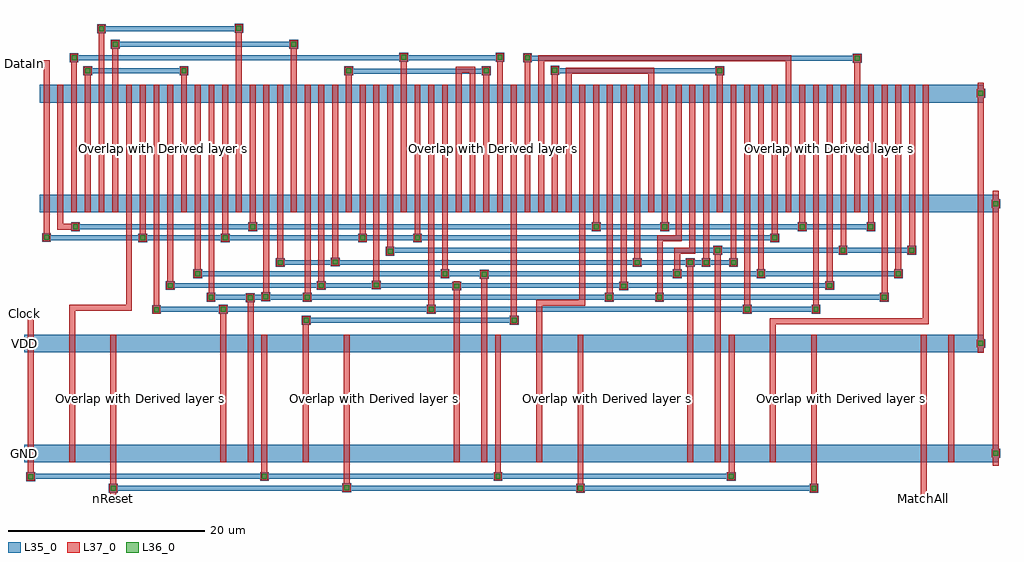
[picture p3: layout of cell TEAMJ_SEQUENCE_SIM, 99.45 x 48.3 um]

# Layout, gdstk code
import gdstk
lib = gdstk.Library(unit=1e-6, precision=1e-09)
def R(c, l, rs):  # rectangles x0, y0, x1, y1
    for r in rs: c.add(gdstk.rectangle(r[:2], r[2:], *l))
def A(c, l, x, y, w, h, nx, ny, dx, dy):  # array of equal rectangles
    R(c, l, [(x+i*dx, y+j*dy, x+i*dx+w, y+j*dy+h) for i in range(nx) for j in range(ny)])
L35_0 = (35, 0)
L36_0 = (36, 0)
L37_0 = (37, 0)

via1 = lib.new_cell('VIA1')
R(via1, L35_0, [(-0.45,-0.45,0.45,0.45)])
R(via1, L36_0, [(-0.25,-0.25,0.25,0.25)])
R(via1, L37_0, [(-0.4,-0.4,0.4,0.4)])

inv1_h = lib.new_cell('INV1_H')
inv1_h.add(gdstk.FlexPath([(2.8,0.9),(0,0.9)], 1.8, ends="flush", simple_path=True, layer=35, datatype=0))  # L35_0
inv1_h.add(gdstk.FlexPath([(2.8,12.1),(0,12.1)], 1.8, ends="flush", simple_path=True, layer=35, datatype=0))  # L35_0
inv1_h.add(gdstk.FlexPath([(2.1,0),(2.1,13)], 0.6, ends="flush", simple_path=True, layer=37, datatype=0))  # L37_0
inv1_h.add(gdstk.FlexPath([(0.7,13),(0.7,0)], 0.6, ends="flush", simple_path=True, layer=37, datatype=0))  # L37_0
inv1_h.add(gdstk.Label('INV1', (1.4,6.5), layer=61, texttype=0))
inv1_h.add(gdstk.Label('GND', (2.8,0.9), layer=35, texttype=0))
inv1_h.add(gdstk.Label('VDD', (2.8,12.1), layer=35, texttype=0))
inv1_h.add(gdstk.Label('Q', (2.1,0), layer=37, texttype=0))
inv1_h.add(gdstk.Label('A', (0.7,0), layer=37, texttype=0))
inv1_h.add(gdstk.Label('Q', (2.1,13), layer=37, texttype=0))
inv1_h.add(gdstk.Label('A', (0.7,13), layer=37, texttype=0))
inv1_h.add(gdstk.Label('GND', (0,0.9), layer=35, texttype=0))
inv1_h.add(gdstk.Label('VDD', (0,12.1), layer=35, texttype=0))

nor41_h = lib.new_cell('NOR41_H')
R(nor41_h, L35_0, [(0,0,7,1.8), (0,11.2,7,13)])
nor41_h.add(gdstk.FlexPath([(6.3,13),(6.3,0)], 0.6, ends="flush", simple_path=True, layer=37, datatype=0))  # L37_0
nor41_h.add(gdstk.FlexPath([(4.9,0),(4.9,13)], 0.6, ends="flush", simple_path=True, layer=37, datatype=0))  # L37_0
nor41_h.add(gdstk.FlexPath([(3.5,13),(3.5,0)], 0.6, ends="flush", simple_path=True, layer=37, datatype=0))  # L37_0
nor41_h.add(gdstk.FlexPath([(2.1,0),(2.1,13)], 0.6, ends="flush", simple_path=True, layer=37, datatype=0))  # L37_0
nor41_h.add(gdstk.FlexPath([(0.7,13),(0.7,0)], 0.6, ends="flush", simple_path=True, layer=37, datatype=0))  # L37_0
nor41_h.add(gdstk.Label('NOR41', (3.5,6.5), layer=61, texttype=0))
nor41_h.add(gdstk.Label('Q', (6.3,13), layer=37, texttype=0))
nor41_h.add(gdstk.Label('D', (4.9,13), layer=37, texttype=0))
nor41_h.add(gdstk.Label('C', (3.5,13), layer=37, texttype=0))
nor41_h.add(gdstk.Label('B', (2.1,13), layer=37, texttype=0))
nor41_h.add(gdstk.Label('A', (0.7,13), layer=37, texttype=0))
nor41_h.add(gdstk.Label('Q', (6.3,0), layer=37, texttype=0))
nor41_h.add(gdstk.Label('D', (4.9,0), layer=37, texttype=0))
nor41_h.add(gdstk.Label('C', (3.5,0), layer=37, texttype=0))
nor41_h.add(gdstk.Label('B', (2.1,0), layer=37, texttype=0))
nor41_h.add(gdstk.Label('A', (0.7,0), layer=37, texttype=0))
nor41_h.add(gdstk.Label('vdd', (0,12.1), layer=35, texttype=0))
nor41_h.add(gdstk.Label('vdd', (7,12.1), layer=35, texttype=0))
nor41_h.add(gdstk.Label('gnd', (0,0.9), layer=35, texttype=0))
nor41_h.add(gdstk.Label('gnd', (7,0.9), layer=35, texttype=0))

nand41_h = lib.new_cell('NAND41_H')
R(nand41_h, L35_0, [(0,0,7,1.8), (0,11.2,7,13)])
nand41_h.add(gdstk.FlexPath([(6.3,0),(6.3,13)], 0.6, ends="flush", simple_path=True, layer=37, datatype=0))  # L37_0
nand41_h.add(gdstk.FlexPath([(4.9,13),(4.9,0)], 0.6, ends="flush", simple_path=True, layer=37, datatype=0))  # L37_0
nand41_h.add(gdstk.FlexPath([(3.5,0),(3.5,13)], 0.6, ends="flush", simple_path=True, layer=37, datatype=0))  # L37_0
nand41_h.add(gdstk.FlexPath([(2.1,13),(2.1,0)], 0.6, ends="flush", simple_path=True, layer=37, datatype=0))  # L37_0
nand41_h.add(gdstk.FlexPath([(0.7,0),(0.7,13)], 0.6, ends="flush", simple_path=True, layer=37, datatype=0))  # L37_0
nand41_h.add(gdstk.Label('NAND41', (3.5,6.5), layer=61, texttype=0))
nand41_h.add(gdstk.Label('D', (0.7,13), layer=37, texttype=0))
nand41_h.add(gdstk.Label('Q', (6.3,0), layer=37, texttype=0))
nand41_h.add(gdstk.Label('A', (4.9,0), layer=37, texttype=0))
nand41_h.add(gdstk.Label('B', (3.5,0), layer=37, texttype=0))
nand41_h.add(gdstk.Label('C', (2.1,0), layer=37, texttype=0))
nand41_h.add(gdstk.Label('D', (0.7,0), layer=37, texttype=0))
nand41_h.add(gdstk.Label('Q', (6.3,13), layer=37, texttype=0))
nand41_h.add(gdstk.Label('A', (4.9,13), layer=37, texttype=0))
nand41_h.add(gdstk.Label('B', (3.5,13), layer=37, texttype=0))
nand41_h.add(gdstk.Label('C', (2.1,13), layer=37, texttype=0))
nand41_h.add(gdstk.Label('vdd', (0,12.1), layer=35, texttype=0))
nand41_h.add(gdstk.Label('vdd', (7,12.1), layer=35, texttype=0))
nand41_h.add(gdstk.Label('gnd', (0,0.9), layer=35, texttype=0))
nand41_h.add(gdstk.Label('gnd', (7,0.9), layer=35, texttype=0))

nand31_h = lib.new_cell('NAND31_H')
R(nand31_h, L35_0, [(0,0,5.6,1.8), (0,11.2,5.6,13)])
nand31_h.add(gdstk.FlexPath([(4.9,13),(4.9,0)], 0.6, ends="flush", simple_path=True, layer=37, datatype=0))  # L37_0
nand31_h.add(gdstk.FlexPath([(3.5,0),(3.5,13)], 0.6, ends="flush", simple_path=True, layer=37, datatype=0))  # L37_0
nand31_h.add(gdstk.FlexPath([(2.1,13),(2.1,0)], 0.6, ends="flush", simple_path=True, layer=37, datatype=0))  # L37_0
nand31_h.add(gdstk.FlexPath([(0.7,0),(0.7,13)], 0.6, ends="flush", simple_path=True, layer=37, datatype=0))  # L37_0
nand31_h.add(gdstk.Label('NAND31', (2.8,6.5), layer=61, texttype=0))
nand31_h.add(gdstk.Label('Q', (4.9,13), layer=37, texttype=0))
nand31_h.add(gdstk.Label('A', (3.5,13), layer=37, texttype=0))
nand31_h.add(gdstk.Label('B', (2.1,13), layer=37, texttype=0))
nand31_h.add(gdstk.Label('C', (0.7,13), layer=37, texttype=0))
nand31_h.add(gdstk.Label('Q', (4.9,0), layer=37, texttype=0))
nand31_h.add(gdstk.Label('A', (3.5,0), layer=37, texttype=0))
nand31_h.add(gdstk.Label('B', (2.1,0), layer=37, texttype=0))
nand31_h.add(gdstk.Label('C', (0.7,0), layer=37, texttype=0))
nand31_h.add(gdstk.Label('vdd', (0,12.1), layer=35, texttype=0))
nand31_h.add(gdstk.Label('vdd', (5.6,12.1), layer=35, texttype=0))
nand31_h.add(gdstk.Label('gnd', (0,0.9), layer=35, texttype=0))
nand31_h.add(gdstk.Label('gnd', (5.6,0.9), layer=35, texttype=0))

dfc1_h = lib.new_cell('DFC1_H')
R(dfc1_h, L35_0, [(0,0,23.8,1.8), (0,11.2,23.8,13)])
dfc1_h.add(gdstk.FlexPath([(23.1,13),(23.1,0)], 0.6, ends="flush", simple_path=True, layer=37, datatype=0))  # L37_0
dfc1_h.add(gdstk.FlexPath([(20.3,0),(20.3,13)], 0.6, ends="flush", simple_path=True, layer=37, datatype=0))  # L37_0
dfc1_h.add(gdstk.FlexPath([(9.1,13),(9.1,0)], 0.6, ends="flush", simple_path=True, layer=37, datatype=0))  # L37_0
dfc1_h.add(gdstk.FlexPath([(4.9,0),(4.9,13)], 0.6, ends="flush", simple_path=True, layer=37, datatype=0))  # L37_0
dfc1_h.add(gdstk.FlexPath([(0.7,0),(0.7,13)], 0.6, ends="flush", simple_path=True, layer=37, datatype=0))  # L37_0
dfc1_h.add(gdstk.Label('DFC1', (11.9,6.5), layer=61, texttype=0))
dfc1_h.add(gdstk.Label('QN', (23.1,0), layer=37, texttype=0))
dfc1_h.add(gdstk.Label('Q', (20.3,0), layer=37, texttype=0))
dfc1_h.add(gdstk.Label('RN', (9.1,0), layer=37, texttype=0))
dfc1_h.add(gdstk.Label('D', (4.9,0), layer=37, texttype=0))
dfc1_h.add(gdstk.Label('C', (0.7,0), layer=37, texttype=0))
dfc1_h.add(gdstk.Label('QN', (23.1,13), layer=37, texttype=0))
dfc1_h.add(gdstk.Label('Q', (20.3,13), layer=37, texttype=0))
dfc1_h.add(gdstk.Label('RN', (9.1,13), layer=37, texttype=0))
dfc1_h.add(gdstk.Label('D', (4.9,13), layer=37, texttype=0))
dfc1_h.add(gdstk.Label('C', (0.7,13), layer=37, texttype=0))
dfc1_h.add(gdstk.Label('gnd', (0,0.9), layer=35, texttype=0))
dfc1_h.add(gdstk.Label('vdd', (0,12.1), layer=35, texttype=0))
dfc1_h.add(gdstk.Label('vdd', (23.8,12.1), layer=35, texttype=0))
dfc1_h.add(gdstk.Label('gnd', (23.8,0.9), layer=35, texttype=0))

teamj_sequence = lib.new_cell('TEAMJ_SEQUENCE')
R(teamj_sequence, L35_0, [(13.25,-18.75,83.8,-18.25), (4.85,-17.55,75.35,-17.05), (32.85,-1.65,53.2,-1.15), (17.65,-0.5,84.05,0), (23.2,0.7,90.9,1.2), (18.95,1.9,85.35,2.4), (21.85,3.1,92.35,3.6), (30.25,4.25,73.65,4.75), (41.4,5.5,93.7,6), (6.45,6.75,80.65,7.25), (9.4,7.9,90.35,8.4), (10.65,23.8,19.55,24.3), (58.2,23.8,74.15,24.3), (55.45,25.05,88.2,25.55), (9.25,25.1,51.75,25.6), (13.45,26.5,30.75,27), (12.05,28.05,25.15,28.55)])
A(teamj_sequence, L37_0, 27.9, -16.9, 0.6, 1.05, 3, 1, 23.8, 0)
R(teamj_sequence, L37_0, [(12.5,-18.1,13.1,-15.85), (60.1,-18.1,60.7,-15.85), (83.9,-18.1,84.5,-15.85), (36.3,-18.05,36.9,-15.85), (4.1,-16.95,4.7,-15.85), (8.3,-2.85,8.9,0.1), (23.7,-2.85,24.3,-0.6), (26.5,-2.85,27.1,0.55), (32.1,-2.85,32.7,-1.75), (47.5,-2.85,48.1,2.6), (50.3,-2.85,50.9,3.55), (55.9,-2.85,56.5,0.5), (71.3,-2.85,71.9,4.5), (74.1,-2.85,74.7,5.45), (53.3,-1,53.9,9.6), (8.3,-0.4,14.7,0.2), (14.1,-0.35,14.7,9.6), (16.9,0.1,17.5,9.6), (55.9,0.1,60.9,0.7), (77.1,0.1,77.7,9.6), (44.9,0.15,45.5,9.6), (84.1,0.15,84.7,9.6), (60.3,0.6,60.9,9.6), (22.5,1.3,23.1,9.6), (28.1,1.3,28.7,9.6), (32.3,1.3,32.9,9.6), (91.1,1.3,91.7,9.6), (63.1,1.35,63.7,9.6), (68.2,1.35,68.8,7.05), (64.5,2.5,65.1,9.6), (18.3,2.55,18.9,9.6), (33.7,2.55,34.3,9.6), (85.5,2.55,86.1,9.6), (39.3,2.6,39.9,9.6), (78.5,3.7,79.1,9.6), (92.5,3.7,93.1,9.6), (21.1,3.75,21.7,9.6), (46.3,3.75,46.9,9.6), (69.95,3.75,70.55,6), (29.5,4.9,30.1,9.6), (35.1,4.9,35.7,9.6), (65.9,4.9,66.5,9.6), (72.9,4.9,73.5,9.6), (75.7,4.9,76.3,9.6), (70,5.4,72.1,6), (71.5,5.6,72.1,9.6), (40.7,6.05,41.3,9.6), (86.9,6.15,87.5,9.6), (93.9,6.15,94.5,9.6), (68.2,6.65,70.7,7.25), (70.1,6.7,70.7,9.6), (43.5,7.3,44.1,9.6), (79.9,7.3,80.5,9.6), (15.5,7.4,16.1,9.6), (23.9,7.4,24.5,9.6), (37.9,7.4,38.5,9.6), (61.7,8.3,62.3,9.6), (82.7,8.3,83.3,9.6), (89.7,8.3,90.3,9.6), (26.7,8.45,27.3,9.6), (68.7,8.55,69.3,9.6), (8.5,22.6,9.1,24.95), (9.9,22.6,10.5,23.65), (11.3,22.6,11.9,27.9), (12.7,22.6,13.3,26.4), (19.7,22.6,20.3,23.65), (25.3,22.6,25.9,27.95), (30.9,22.6,31.5,26.35), (51.9,22.6,52.5,25), (54.7,22.6,55.3,24.95), (56.1,22.6,56.7,25.15), (57.5,22.6,58.1,23.7), (58.9,22.6,59.5,24), (67.3,22.6,67.9,24.1), (74.3,22.6,74.9,23.65), (81.3,22.6,81.9,25.35), (88.3,22.6,88.9,24.9), (58.9,23.75,67.9,24.35), (56.1,25,81.9,25.6), (12.8,26.65,12.85,27.05)])
teamj_sequence.add(gdstk.FlexPath([(75.55,4.5),(73.65,4.5)], 0.5, ends="flush", simple_path=True, layer=35, datatype=0))  # L35_0
teamj_sequence.add(gdstk.FlexPath([(50.35,24),(37.25,24)], 0.5, ends="flush", simple_path=True, layer=35, datatype=0))  # L35_0
teamj_sequence.add(gdstk.FlexPath([(6,23.5),(6,22.6)], 0.6, ends="flush", simple_path=True, layer=37, datatype=0))  # L37_0
teamj_sequence.add(gdstk.FlexPath([(4.4,-2),(4.4,-2.85)], 0.6, ends="flush", simple_path=True, layer=37, datatype=0))  # L37_0
teamj_sequence.add(gdstk.FlexPath([(12.8,-19.5),(12.8,-18.9)], 0.6, ends="flush", simple_path=True, layer=37, datatype=0))  # L37_0
teamj_sequence.add(gdstk.FlexPath([(95.4,-17),(95.4,-15.85)], 0.6, ends="flush", simple_path=True, layer=37, datatype=0))  # L37_0
teamj_sequence.add(gdstk.FlexPath([(49.4,22.6),(49.4,24.15),(48,24.15),(48,22.6)], 0.6, ends="flush", simple_path=True, layer=37, datatype=0))  # L37_0
teamj_sequence.add(gdstk.FlexPath([(36.8,23.65),(36.8,22.6)], 0.6, ends="flush", simple_path=True, layer=37, datatype=0))  # L37_0
teamj_sequence.add(gdstk.FlexPath([(50.8,23.65),(50.8,22.6)], 0.6, ends="flush", simple_path=True, layer=37, datatype=0))  # L37_0
teamj_sequence.add(gdstk.FlexPath([(42.4,25),(42.4,22.6)], 0.6, ends="flush", simple_path=True, layer=37, datatype=0))  # L37_0
teamj_sequence.add(gdstk.FlexPath([(6,7.4),(6,9.6)], 0.6, ends="flush", simple_path=True, layer=37, datatype=0))  # L37_0
teamj_sequence.add(gdstk.FlexPath([(8.6,8.15),(7.4,8.15),(7.4,9.6)], 0.6, ends="flush", simple_path=True, layer=37, datatype=0))  # L37_0
teamj_sequence.add(gdstk.FlexPath([(80,-2.85),(80,-1.5),(95.6,-1.5),(95.6,9.6)], 0.6, ends="flush", simple_path=True, layer=37, datatype=0))  # L37_0
teamj_sequence.add(gdstk.Reference(via1, (50.8,24.05)))
teamj_sequence.add(gdstk.Reference(via1, (36.8,24.05)))
teamj_sequence.add(gdstk.Reference(via1, (42.4,25.4)))
teamj_sequence.add(gdstk.Reference(via1, (6,7.05)))
teamj_sequence.add(gdstk.Reference(via1, (8.95,8.15)))
teamj_sequence.add(gdstk.Reference(via1, (27,8.15)))
teamj_sequence.add(gdstk.Reference(via1, (20,24.05)))
teamj_sequence.add(gdstk.Reference(via1, (10.2,24.05)))
teamj_sequence.add(gdstk.Reference(via1, (84.2,-18.5)))
teamj_sequence.add(gdstk.Reference(via1, (75.75,-17.3)))
teamj_sequence.add(gdstk.Reference(via1, (60.4,-18.5)))
teamj_sequence.add(gdstk.Reference(via1, (52,-17.3)))
teamj_sequence.add(gdstk.Reference(via1, (36.6,-18.45)))
teamj_sequence.add(gdstk.Reference(via1, (28.2,-17.3)))
teamj_sequence.add(gdstk.Reference(via1, (12.8,-18.5)))
teamj_sequence.add(gdstk.Reference(via1, (4.4,-17.35)))
teamj_sequence.add(gdstk.Reference(via1, (94.15,5.75)))
teamj_sequence.add(gdstk.Reference(via1, (92.8,3.35)))
teamj_sequence.add(gdstk.Reference(via1, (91.35,0.95)))
teamj_sequence.add(gdstk.Reference(via1, (90,8.15)))
teamj_sequence.add(gdstk.Reference(via1, (87.15,5.75)))
teamj_sequence.add(gdstk.Reference(via1, (85.8,2.15)))
teamj_sequence.add(gdstk.Reference(via1, (84.4,-0.25)))
teamj_sequence.add(gdstk.Reference(via1, (83,8.15)))
teamj_sequence.add(gdstk.Reference(via1, (80.2,7)))
teamj_sequence.add(gdstk.Reference(via1, (78.8,3.35)))
teamj_sequence.add(gdstk.Reference(via1, (77.4,-0.25)))
teamj_sequence.add(gdstk.Reference(via1, (76,4.5)))
teamj_sequence.add(gdstk.Reference(via1, (74.4,5.75)))
teamj_sequence.add(gdstk.Reference(via1, (73.2,4.5)))
teamj_sequence.add(gdstk.Reference(via1, (71.6,4.5)))
teamj_sequence.add(gdstk.Reference(via1, (70.25,3.35)))
teamj_sequence.add(gdstk.Reference(via1, (69,8.15)))
teamj_sequence.add(gdstk.Reference(via1, (68.45,0.95)))
teamj_sequence.add(gdstk.Reference(via1, (66.2,4.5)))
teamj_sequence.add(gdstk.Reference(via1, (64.8,2.1)))
teamj_sequence.add(gdstk.Reference(via1, (63.35,0.95)))
teamj_sequence.add(gdstk.Reference(via1, (62,8.15)))
teamj_sequence.add(gdstk.Reference(via1, (53.65,-1.4)))
teamj_sequence.add(gdstk.Reference(via1, (50.6,3.3)))
teamj_sequence.add(gdstk.Reference(via1, (47.8,2.1)))
teamj_sequence.add(gdstk.Reference(via1, (46.6,3.35)))
teamj_sequence.add(gdstk.Reference(via1, (45.2,-0.25)))
teamj_sequence.add(gdstk.Reference(via1, (43.8,7)))
teamj_sequence.add(gdstk.Reference(via1, (41,5.65)))
teamj_sequence.add(gdstk.Reference(via1, (39.6,2.2)))
teamj_sequence.add(gdstk.Reference(via1, (38.2,7)))
teamj_sequence.add(gdstk.Reference(via1, (32.45,-1.4)))
teamj_sequence.add(gdstk.Reference(via1, (35.4,4.55)))
teamj_sequence.add(gdstk.Reference(via1, (34,2.15)))
teamj_sequence.add(gdstk.Reference(via1, (32.55,0.95)))
teamj_sequence.add(gdstk.Reference(via1, (28.35,1)))
teamj_sequence.add(gdstk.Reference(via1, (26.75,0.9)))
teamj_sequence.add(gdstk.Reference(via1, (24,-0.25)))
teamj_sequence.add(gdstk.Reference(via1, (29.8,4.5)))
teamj_sequence.add(gdstk.Reference(via1, (24.2,7)))
teamj_sequence.add(gdstk.Reference(via1, (22.75,0.95)))
teamj_sequence.add(gdstk.Reference(via1, (21.4,3.35)))
teamj_sequence.add(gdstk.Reference(via1, (18.6,2.15)))
teamj_sequence.add(gdstk.Reference(via1, (17.2,-0.3)))
teamj_sequence.add(gdstk.Reference(via1, (15.8,7)))
teamj_sequence.add(gdstk.Reference(via1, (88.6,25.3)))
teamj_sequence.add(gdstk.Reference(via1, (74.6,24.05)))
teamj_sequence.add(gdstk.Reference(via1, (57.8,24.1)))
teamj_sequence.add(gdstk.Reference(via1, (55,25.35)))
teamj_sequence.add(gdstk.Reference(via1, (52.2,25.4)))
teamj_sequence.add(gdstk.Reference(via1, (31.2,26.75)))
teamj_sequence.add(gdstk.Reference(via1, (25.6,28.35)))
teamj_sequence.add(gdstk.Reference(via1, (13,26.75)))
teamj_sequence.add(gdstk.Reference(via1, (11.6,28.3)))
teamj_sequence.add(gdstk.Reference(via1, (8.8,25.35)))
teamj_sequence.add(gdstk.Reference(inv1_h, (5.3,9.6)))
teamj_sequence.add(gdstk.Reference(nor41_h, (89.3,9.6)))
teamj_sequence.add(gdstk.Reference(nand41_h, (75.3,9.6)))
teamj_sequence.add(gdstk.Reference(nand41_h, (54.3,9.6)))
teamj_sequence.add(gdstk.Reference(nand41_h, (68.3,9.6)))
teamj_sequence.add(gdstk.Reference(nand41_h, (8.1,9.6)))
teamj_sequence.add(gdstk.Reference(nand41_h, (82.3,9.6)))
teamj_sequence.add(gdstk.Reference(nand41_h, (61.3,9.6)))
teamj_sequence.add(gdstk.Reference(nand31_h, (37.5,9.6)))
teamj_sequence.add(gdstk.Reference(nand31_h, (31.9,9.6)))
teamj_sequence.add(gdstk.Reference(nand31_h, (43.1,9.6)))
teamj_sequence.add(gdstk.Reference(nand31_h, (48.7,9.6)))
teamj_sequence.add(gdstk.Reference(nand31_h, (26.3,9.6)))
teamj_sequence.add(gdstk.Reference(nand31_h, (20.7,9.6)))
teamj_sequence.add(gdstk.Reference(nand31_h, (15.1,9.6)))
teamj_sequence.add(gdstk.Reference(dfc1_h, (27.5,-15.85)))
teamj_sequence.add(gdstk.Reference(dfc1_h, (51.3,-15.85)))
teamj_sequence.add(gdstk.Reference(dfc1_h, (75.1,-15.85)))
teamj_sequence.add(gdstk.Reference(dfc1_h, (3.7,-15.85)))
teamj_sequence.add(gdstk.Label('MATCH', (95.4,-17), layer=37, texttype=0))
teamj_sequence.add(gdstk.Label('nReset', (12.8,-19.5), layer=37, texttype=0))
teamj_sequence.add(gdstk.Label('CLK', (4.4,-2), layer=37, texttype=0))
teamj_sequence.add(gdstk.Label('D', (6,23.5), layer=37, texttype=0))

teamj_sequence_sim = lib.new_cell('TEAMJ_SEQUENCE_SIM')
R(teamj_sequence_sim, L35_0, [(51.2,-22.15,55.3,-20.35), (51.2,-10.95,53.8,-9.15), (48.6,3.3,55.3,5.1), (48.6,14.5,53.8,16.3)])
teamj_sequence_sim.add(gdstk.FlexPath([(-44,18.5),(-41.7,18.5),(-41.7,17.2)], 0.6, ends="flush", simple_path=True, layer=37, datatype=0))  # L37_0
teamj_sequence_sim.add(gdstk.FlexPath([(47.7,-25.8),(47.7,-23.3)], 0.6, ends="flush", simple_path=True, layer=37, datatype=0))  # L37_0
teamj_sequence_sim.add(gdstk.FlexPath([(-44,-7),(-43.3,-7),(-43.3,-8.3)], 0.6, ends="flush", simple_path=True, layer=37, datatype=0))  # L37_0
teamj_sequence_sim.add(gdstk.FlexPath([(55,5.5),(55,-22.5)], 0.6, ends="flush", simple_path=True, layer=37, datatype=0))  # L37_0
teamj_sequence_sim.add(gdstk.FlexPath([(53.5,-11),(53.5,16.5)], 0.6, ends="flush", simple_path=True, layer=37, datatype=0))  # L37_0
teamj_sequence_sim.add(gdstk.Reference(teamj_sequence, (-47.7,-6.3)))
teamj_sequence_sim.add(gdstk.Reference(via1, (53.5,15.45)))
teamj_sequence_sim.add(gdstk.Reference(via1, (55,4.2)))
teamj_sequence_sim.add(gdstk.Reference(via1, (53.5,-10.05)))
teamj_sequence_sim.add(gdstk.Reference(via1, (55,-21.25)))
teamj_sequence_sim.add(gdstk.Label('Overlap with Derived layer subs', (-32.1,-15.65), layer=63, texttype=0))
teamj_sequence_sim.add(gdstk.Label('Overlap with Derived layer allsubs', (-32.1,-15.65), layer=63, texttype=0))
teamj_sequence_sim.add(gdstk.Label('Overlap with Derived layer subs', (39.3,-15.65), layer=63, texttype=0))
teamj_sequence_sim.add(gdstk.Label('Overlap with Derived layer allsubs', (39.3,-15.65), layer=63, texttype=0))
teamj_sequence_sim.add(gdstk.Label('Overlap with Derived layer subs', (15.5,-15.65), layer=63, texttype=0))
teamj_sequence_sim.add(gdstk.Label('Overlap with Derived layer allsubs', (15.5,-15.65), layer=63, texttype=0))
teamj_sequence_sim.add(gdstk.Label('Overlap with Derived layer subs', (-8.3,-15.65), layer=63, texttype=0))
teamj_sequence_sim.add(gdstk.Label('Overlap with Derived layer allsubs', (-8.3,-15.65), layer=63, texttype=0))
teamj_sequence_sim.add(gdstk.Label('Overlap with Derived layer subs', (-29.8,9.8), layer=63, texttype=0))
teamj_sequence_sim.add(gdstk.Label('Overlap with Derived layer allsubs', (-29.8,9.8), layer=63, texttype=0))
teamj_sequence_sim.add(gdstk.Label('Overlap with Derived layer subs', (-24.2,9.8), layer=63, texttype=0))
teamj_sequence_sim.add(gdstk.Label('Overlap with Derived layer allsubs', (-24.2,9.8), layer=63, texttype=0))
teamj_sequence_sim.add(gdstk.Label('Overlap with Derived layer subs', (-18.6,9.8), layer=63, texttype=0))
teamj_sequence_sim.add(gdstk.Label('Overlap with Derived layer allsubs', (-18.6,9.8), layer=63, texttype=0))
teamj_sequence_sim.add(gdstk.Label('Overlap with Derived layer subs', (3.8,9.8), layer=63, texttype=0))
teamj_sequence_sim.add(gdstk.Label('Overlap with Derived layer allsubs', (3.8,9.8), layer=63, texttype=0))
teamj_sequence_sim.add(gdstk.Label('Overlap with Derived layer subs', (-1.8,9.8), layer=63, texttype=0))
teamj_sequence_sim.add(gdstk.Label('Overlap with Derived layer allsubs', (-1.8,9.8), layer=63, texttype=0))
teamj_sequence_sim.add(gdstk.Label('Overlap with Derived layer subs', (-13,9.8), layer=63, texttype=0))
teamj_sequence_sim.add(gdstk.Label('Overlap with Derived layer allsubs', (-13,9.8), layer=63, texttype=0))
teamj_sequence_sim.add(gdstk.Label('Overlap with Derived layer subs', (-7.4,9.8), layer=63, texttype=0))
teamj_sequence_sim.add(gdstk.Label('Overlap with Derived layer allsubs', (-7.4,9.8), layer=63, texttype=0))
teamj_sequence_sim.add(gdstk.Label('Overlap with Derived layer subs', (17.1,9.8), layer=63, texttype=0))
teamj_sequence_sim.add(gdstk.Label('Overlap with Derived layer allsubs', (17.1,9.8), layer=63, texttype=0))
teamj_sequence_sim.add(gdstk.Label('Overlap with Derived layer subs', (38.1,9.8), layer=63, texttype=0))
teamj_sequence_sim.add(gdstk.Label('Overlap with Derived layer allsubs', (38.1,9.8), layer=63, texttype=0))
teamj_sequence_sim.add(gdstk.Label('Overlap with Derived layer subs', (-36.1,9.8), layer=63, texttype=0))
teamj_sequence_sim.add(gdstk.Label('Overlap with Derived layer allsubs', (-36.1,9.8), layer=63, texttype=0))
teamj_sequence_sim.add(gdstk.Label('Overlap with Derived layer subs', (24.1,9.8), layer=63, texttype=0))
teamj_sequence_sim.add(gdstk.Label('Overlap with Derived layer allsubs', (24.1,9.8), layer=63, texttype=0))
teamj_sequence_sim.add(gdstk.Label('Overlap with Derived layer subs', (10.1,9.8), layer=63, texttype=0))
teamj_sequence_sim.add(gdstk.Label('Overlap with Derived layer allsubs', (10.1,9.8), layer=63, texttype=0))
teamj_sequence_sim.add(gdstk.Label('Overlap with Derived layer subs', (31.1,9.8), layer=63, texttype=0))
teamj_sequence_sim.add(gdstk.Label('Overlap with Derived layer allsubs', (31.1,9.8), layer=63, texttype=0))
teamj_sequence_sim.add(gdstk.Label('Overlap with Derived layer subs', (45.1,9.8), layer=63, texttype=0))
teamj_sequence_sim.add(gdstk.Label('Overlap with Derived layer allsubs', (45.1,9.8), layer=63, texttype=0))
teamj_sequence_sim.add(gdstk.Label('Overlap with Derived layer subs', (-41,9.8), layer=63, texttype=0))
teamj_sequence_sim.add(gdstk.Label('Overlap with Derived layer allsubs', (-41,9.8), layer=63, texttype=0))
teamj_sequence_sim.add(gdstk.Label('GND', (-44,-21.25), layer=35, texttype=0))
teamj_sequence_sim.add(gdstk.Label('VDD', (-44,-10.05), layer=35, texttype=0))
teamj_sequence_sim.add(gdstk.Label('MatchAll', (47.7,-25.8), layer=37, texttype=0))
teamj_sequence_sim.add(gdstk.Label('nReset', (-34.9,-25.8), layer=37, texttype=0))
teamj_sequence_sim.add(gdstk.Label('Clock', (-44,-7), layer=37, texttype=0))
teamj_sequence_sim.add(gdstk.Label('DataIn', (-44,18.5), layer=37, texttype=0))

lib.write_gds('TEAMJ_SEQUENCE_SIM.gds')
